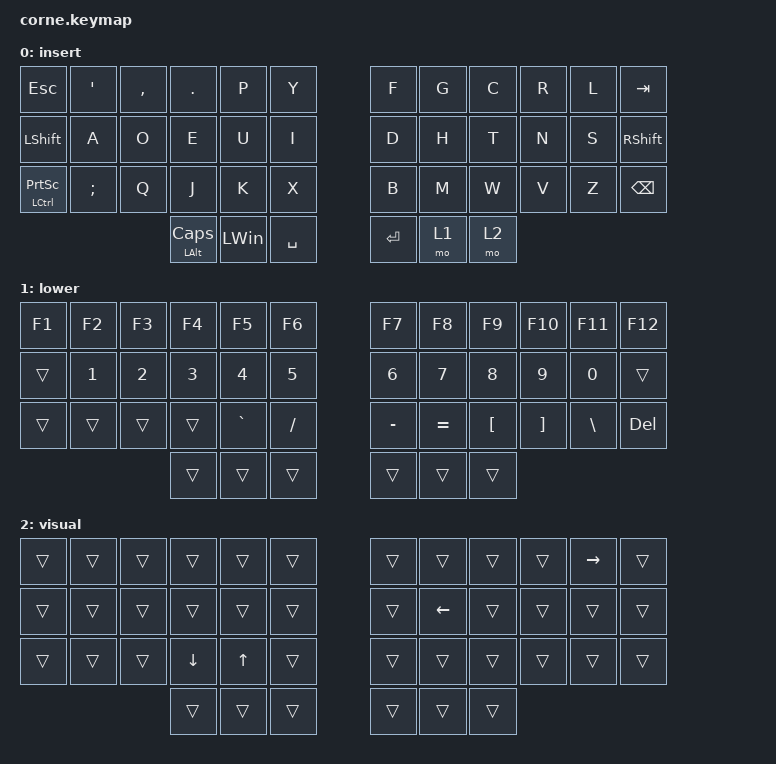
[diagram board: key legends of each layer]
/*
 * Copyright (c) 2020 The ZMK Contributors
 *
 * SPDX-License-Identifier: MIT
 */

#include <behaviors.dtsi>
#include <dt-bindings/zmk/keys.h>

/ {
    keymap {
        compatible = "zmk,keymap";

        insert {
            // -----------------------------------------------------------------------------------------
            // |  TAB |  Q  |  W  |  E  |  R  |  T  |   |  Y  |  U   |  I  |  O  |  P  | BSPC |
            // | CTRL |  A  |  S  |  D  |  F  |  G  |   |  H  |  J   |  K  |  L  |  ;  |  '   |
            // | SHFT |  Z  |  X  |  C  |  V  |  B  |   |  N  |  M   |  ,  |  .  |  /  | ESC  |
            //                    | GUI | LWR | SPC |   | ENT | RSE  | ALT |

            bindings = <
&kp ESCAPE                    &kp SQT        &kp COMMA  &kp PERIOD             &kp P         &kp Y        &kp F      &kp G  &kp C  &kp R  &kp L  &kp TAB
&kp LEFT_SHIFT                &kp A          &kp O      &kp E                  &kp U         &kp I        &kp D      &kp H  &kp T  &kp N  &kp S  &kp RIGHT_SHIFT
&mt LEFT_CONTROL PRINTSCREEN  &kp SEMICOLON  &kp Q      &kp J                  &kp K         &kp X        &kp B      &kp M  &kp W  &kp V  &kp Z  &kp BACKSPACE
                                                        &mt LEFT_ALT CAPSLOCK  &kp LEFT_WIN  &kp SPACE    &kp ENTER  &mo 1  &mo 2
            >;
        };

        lower {
            bindings = <
&kp F1  &kp F2        &kp F3        &kp F4        &kp F5        &kp F6       &kp F7        &kp F8     &kp F9            &kp F10            &kp F11        &kp F12
&trans  &kp NUMBER_1  &kp NUMBER_2  &kp NUMBER_3  &kp NUMBER_4  &kp N5       &kp NUMBER_6  &kp N7     &kp N8            &kp N9             &kp N0         &trans
&trans  &trans        &trans        &trans        &kp GRAVE     &kp SLASH    &kp MINUS     &kp EQUAL  &kp LEFT_BRACKET  &kp RIGHT_BRACKET  &kp BACKSLASH  &kp DELETE
                                    &trans        &trans        &trans       &trans        &trans     &trans
            >;
        };

        visual {
            bindings = <
&trans  &trans  &trans  &trans          &trans        &trans    &trans  &trans          &trans  &trans  &kp RIGHT_ARROW  &trans
&trans  &trans  &trans  &trans          &trans        &trans    &trans  &kp LEFT_ARROW  &trans  &trans  &trans           &trans
&trans  &trans  &trans  &kp DOWN_ARROW  &kp UP_ARROW  &trans    &trans  &trans          &trans  &trans  &trans           &trans
                        &trans          &trans        &trans    &trans  &trans          &trans
            >;
        };
    };
};
